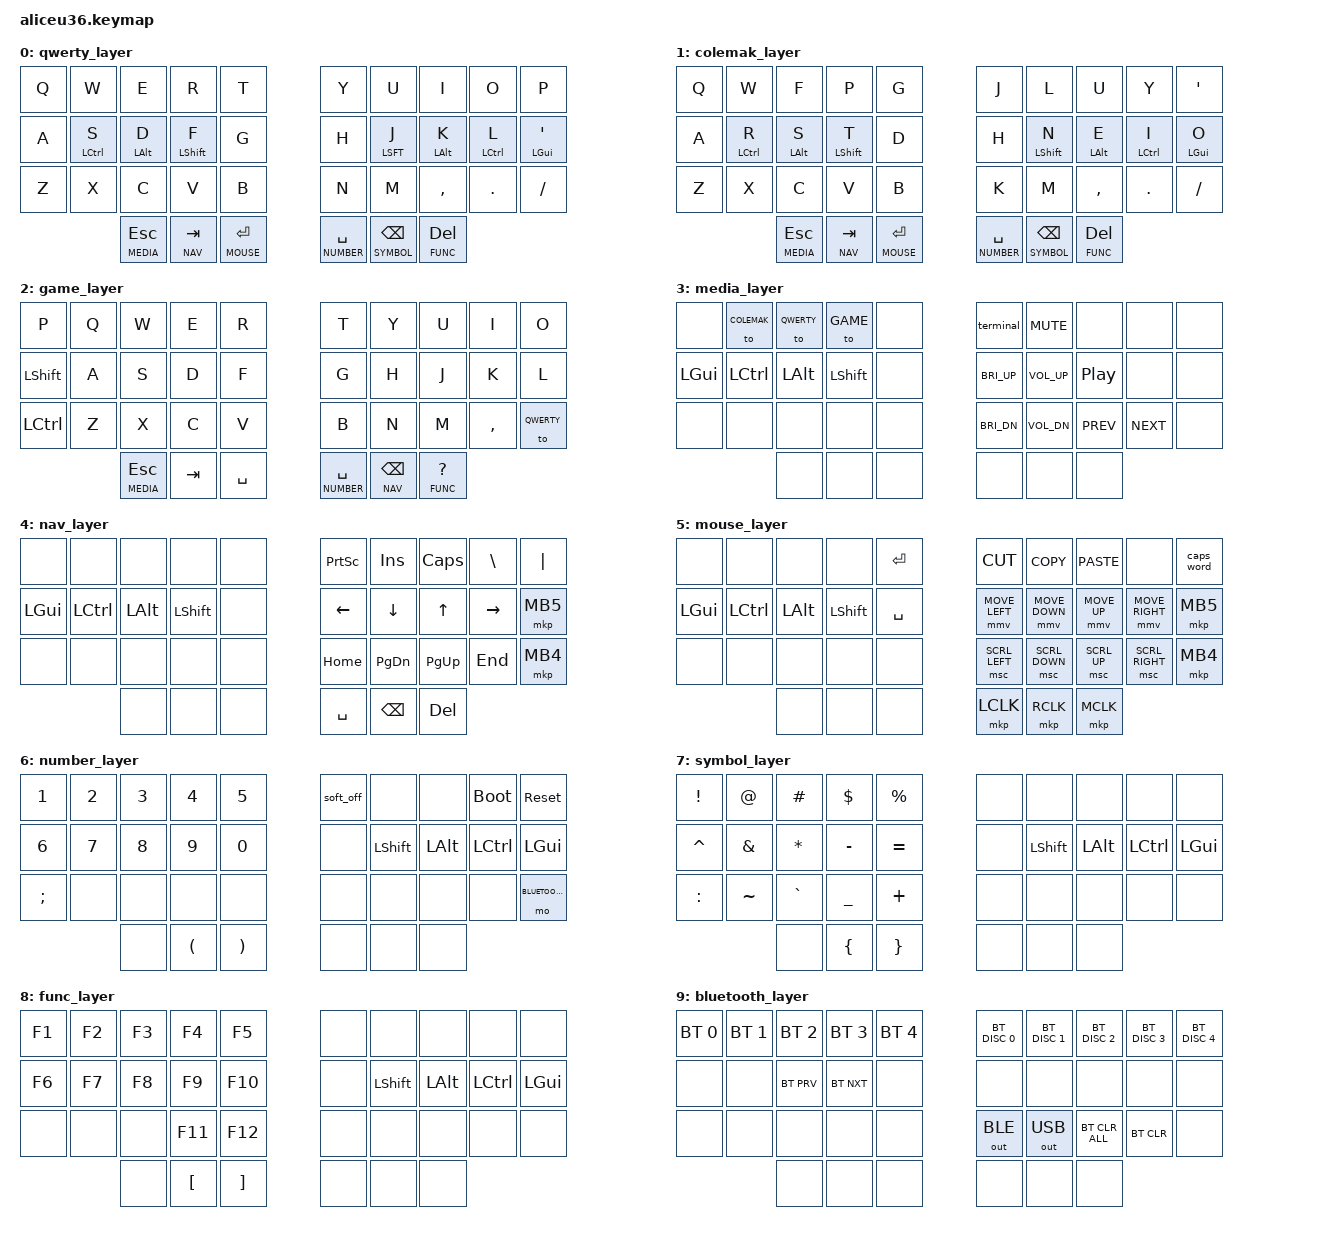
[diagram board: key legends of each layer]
// #define ZMK_POINTING_DEFAULT_MOVE_VAL 1500  // 600
// #define ZMK_POINTING_DEFAULT_SCRL_VAL 20    // 10

// #include <dt-bindings/zmk/pointing.h>
#include "mouse.dtsi"
#include <behaviors.dtsi>
#include <dt-bindings/zmk/keys.h>
#include <dt-bindings/zmk/bt.h>
#include <dt-bindings/zmk/outputs.h>
#include <dt-bindings/zmk/ext_power.h>
// #include <dt-bindings/zmk/mouse.h>

#define QWERTY 0
#define COLEMAK 1
#define GAME 2
#define MEDIA 3
#define NAV 4
#define MOUSE 5
#define NUMBER 6
#define SYMBOL 7
#define FUNC 8
#define BLUETOOTH 9

&soft_off {
    hold-time-ms = <1000>; // Only turn off it the key is held for 1 seconds or longer.
};

/ {
    vbatt: vbatt {
                compatible = "zmk,battery-nrf-vddh";
        };
        chosen {
                zmk,battery = &vbatt;
        };
        behaviors {
                lpi: left_require_prior_idle {
                        compatible = "zmk,behavior-hold-tap";
                        #binding-cells = <2>;
                        flavor = "balanced";
                        tapping-term-ms = <200>;                        // <---[[produces tap if held longer than tapping-term-ms]]
                        quick-tap-ms = <175>;
                        require-prior-idle-ms = <60>;
                        bindings = <&kp>, <&kp>;
                };

                ltp: left_tap_priority {
                        compatible = "zmk,behavior-hold-tap";
                        #binding-cells = <2>;
                        flavor = "tap-preferred";
                        tapping-term-ms = <200>;                        // <---[[produces tap if held longer than tapping-term-ms]]
                        quick-tap-ms = <175>;
                        require-prior-idle-ms = <60>;
                        bindings = <&kp>, <&kp>;
                };

                rpi: right_require_prior_idle {
                        compatible = "zmk,behavior-hold-tap";
                        #binding-cells = <2>;
                        flavor = "balanced";
                        tapping-term-ms = <200>;                        // <---[[produces tap if held longer than tapping-term-ms]]
                        quick-tap-ms = <175>;
                        require-prior-idle-ms = <60>;
                        bindings = <&kp>, <&kp>;
                };

                rtp: right_tap_priority {
                        compatible = "zmk,behavior-hold-tap";
                        #binding-cells = <2>;
                        flavor = "tap-preferred";
                        tapping-term-ms = <200>;                        // <---[[produces tap if held longer than tapping-term-ms]]
                        quick-tap-ms = <175>;
                        require-prior-idle-ms = <60>;
                        bindings = <&kp>, <&kp>;
                };   
        };
            
        macros {
            terminal: terminal {
            compatible = "zmk,behavior-macro";
            #binding-cells = <0>;
            bindings
                = <&macro_press &kp LCTRL>
                , <&macro_tap &kp GRAVE>
                , <&macro_release &kp LCTRL>
                ;
            };
        };  

    keymap {
        compatible = "zmk,keymap";
        
        qwerty_layer { //0
            bindings = <
                &kp Q       &kp W           &kp E           &kp R           &kp T               &kp Y               &kp U                   &kp I           &kp O           &kp P
                &kp A       &ltp LCTRL S    &ltp LALT D     &ltp LSHFT F    &kp G               &kp H               &rtp LSFT J             &rtp LALT K     &rtp LCTRL L    &rtp LGUI QUOT
                &kp Z       &kp X           &kp C           &kp V           &kp B               &kp N               &kp M                   &kp COMMA       &kp DOT         &kp FSLH
                                            &lt MEDIA ESC   &lt NAV TAB     &lt MOUSE ENTER     &lt NUMBER SPACE    &lt SYMBOL BACKSPACE    &lt FUNC DELETE
                >;
        };

        colemak_layer { //1
            bindings = <
                &kp Q   &kp W           &kp F           &kp P           &kp G               &kp J               &kp L                   &kp U           &kp Y           &kp QUOT
                &kp A   &ltp LCTRL R    &ltp LALT S     &ltp LSHFT T    &kp D               &kp H               &ltp LSHFT N            &ltp LALT E     &ltp LCTRL I    &rtp LGUI O
                &kp Z   &kp X           &kp C           &kp V           &kp B               &kp K               &kp M                   &kp COMMA       &kp DOT         &kp SLASH
                                        &lt MEDIA ESC   &lt NAV TAB     &lt MOUSE ENTER     &lt NUMBER SPACE    &lt SYMBOL BACKSPACE    &lt FUNC DELETE
            >;
        };

        game_layer { //2
            bindings = <
                &kp P       &kp Q   &kp W           &kp E   &kp R       &kp T               &kp Y               &kp U           &kp I       &kp O
                &kp LSHFT   &kp A   &kp S           &kp D   &kp F       &kp G               &kp H               &kp J           &kp K       &kp L
                &kp LCTRL   &kp Z   &kp X           &kp C   &kp V       &kp B               &kp N               &kp M           &kp COMMA   &to QWERTY
                                    &lt MEDIA ESC   &kp TAB &kp SPACE   &lt NUMBER SPACE    &lt NAV BACKSPACE   &lt FUNC QMARK
                >;
        };

        media_layer { //3
            bindings = <
                &none       &to COLEMAK &to QWERTY  &to GAME    &none    &terminal       &kp C_MUTE      &none       &none       &none
                &kp LGUI    &kp LCTRL   &kp LALT    &kp LSHFT   &none    &kp C_BRI_UP    &kp C_VOL_UP    &kp C_PP    &none       &none
                &none       &none       &none       &none       &none    &kp C_BRI_DN    &kp C_VOL_DN    &kp C_PREV  &kp C_NEXT  &none
                                        &none       &none       &none    &none           &none           &none
            >;
        };

        nav_layer { //4
            bindings = <
                &none       &none       &none       &none       &none       &kp PSCRN       &kp INS         &kp CAPS    &kp BSLH    &kp PIPE
                &kp LGUI    &kp LCTRL   &kp LALT    &kp LSHFT   &none       &kp LEFT        &kp DOWN        &kp UP      &kp RIGHT   &mkp MB5
                &none       &none       &none       &none       &none       &kp HOME        &kp PG_DN       &kp PG_UP   &kp END     &mkp MB4
                                        &none       &none       &none       &kp SPACE       &kp BACKSPACE   &kp DELETE
            >;
        };

        mouse_layer { //5
            bindings = <
                &none       &none       &none       &none       &kp ENTER   &kp K_CUT       &kp K_COPY      &kp K_PASTE     &none           &caps_word
                &kp LGUI    &kp LCTRL   &kp LALT    &kp LSHFT   &kp SPACE   &mmv MOVE_LEFT  &mmv MOVE_DOWN  &mmv MOVE_UP    &mmv MOVE_RIGHT &mkp MB5
                &none       &none       &none       &none       &none       &msc SCRL_LEFT  &msc SCRL_DOWN  &msc SCRL_UP    &msc SCRL_RIGHT &mkp MB4
                                        &none       &none       &none       &mkp LCLK       &mkp RCLK       &mkp MCLK 
            >;
        };

        number_layer { //6
            bindings = <
                &kp N1      &kp N2      &kp N3      &kp N4          &kp N5          &soft_off   &none       &none       &bootloader &sys_reset
                &kp N6      &kp N7      &kp N8      &kp N9          &kp N0          &none       &kp LSHFT   &kp LALT    &kp LCTRL   &kp LGUI
                &kp SEMI    &none       &none       &none           &none           &none       &none       &none       &none       &mo BLUETOOTH   
                                        &none       &kp LPAR        &kp RPAR        &none       &none       &none
            >;
        };

        symbol_layer { //7
            bindings = <
                &kp EXCL    &kp AT      &kp HASH    &kp DOLLAR      &kp PERCENT     &none       &none       &none       &none       &none
                &kp CARET   &kp AMPS    &kp ASTRK   &kp MINUS       &kp EQUAL       &none       &kp LSHFT   &kp LALT    &kp LCTRL   &kp LGUI
                &kp COLON   &kp TILDE   &kp GRAVE   &kp UNDER       &kp PLUS        &none       &none       &none       &none       &none   
                                        &none       &kp LBRC        &kp RBRC        &none       &none       &none
            >;
        };

        func_layer { //8
            bindings = <
                &kp F1  &kp F2  &kp F3  &kp F4      &kp F5      &none       &none       &none       &none       &none
                &kp F6  &kp F7  &kp F8  &kp F9      &kp F10     &none       &kp LSHFT   &kp LALT    &kp LCTRL   &kp LGUI
                &none   &none   &none   &kp F11     &kp F12     &none       &none       &none       &none       &none   
                                &none   &kp LBKT    &kp RBKT    &none       &none       &none
            >;
        };

        bluetooth_layer { //9
            bindings = <
                &bt BT_SEL 0    &bt BT_SEL 1    &bt BT_SEL 2    &bt BT_SEL 3    &bt BT_SEL 4    &bt BT_DISC 0   &bt BT_DISC 1   &bt BT_DISC 2   &bt BT_DISC 3   &bt BT_DISC 4
                &none           &none           &bt BT_PRV      &bt BT_NXT      &none           &none           &none           &none           &none           &none
                &none           &none           &none           &none           &none           &out OUT_BLE    &out OUT_USB    &bt BT_CLR_ALL  &bt BT_CLR      &none 
                                                &none           &none           &none           &none           &none           &none
                >;
        };
    };
};

// hello there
